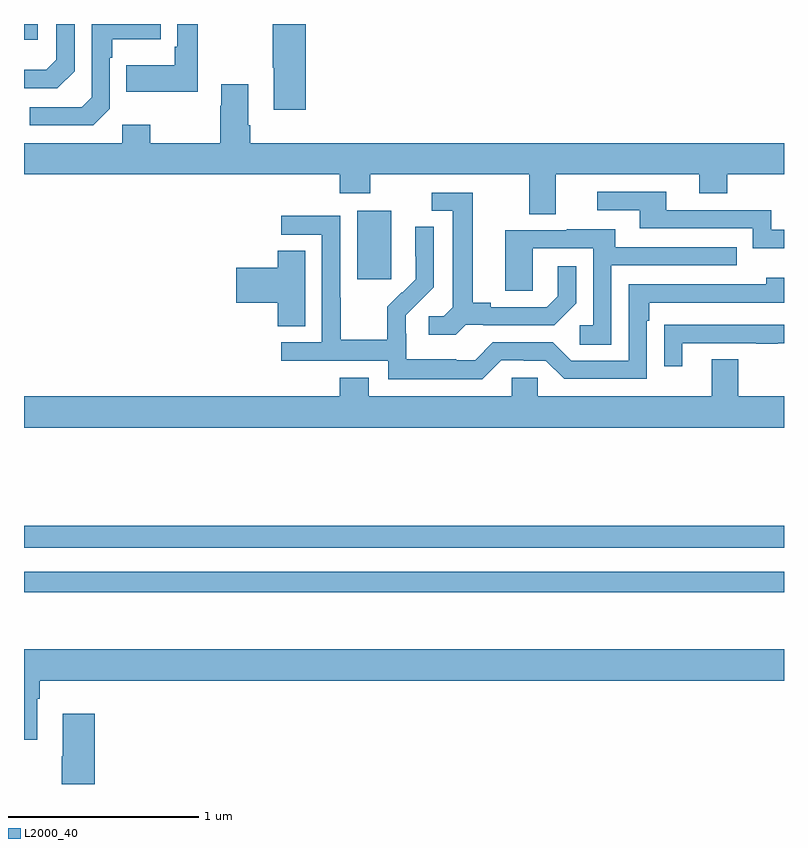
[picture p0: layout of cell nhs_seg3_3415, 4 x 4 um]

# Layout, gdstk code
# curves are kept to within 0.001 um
import gdstk
lib = gdstk.Library(unit=1e-6, precision=1e-09)
def R(c, l, rs):  # rectangles x0, y0, x1, y1
    for r in rs: c.add(gdstk.rectangle(r[:2], r[2:], *l))
def P(c, l, *ps):  # polygons
    for p in ps: c.add(gdstk.Polygon(p, *l))
L2000_40 = (2000, 40)

nhs_seg3_3415 = lib.new_cell('nhs_seg3_3415')
R(nhs_seg3_3415, L2000_40, [(289,673.41,293,673.518), (289,673.644,293,673.76), (290.753,675.057,290.932,675.418), (289,676.316,289.072,676.4)])
P(nhs_seg3_3415, L2000_40, [(289.915,676.4),(289.806,676.4),(289.806,676.279),(289.794,676.279),(289.794,676.183),(289.537,676.183),(289.537,676.043),(289.915,676.043)],
  [(290.483,676.4),(290.308,676.4),(290.308,676.171),(290.315,676.171),(290.315,675.948),(290.483,675.948)],
  [(289.452,675.954),(289.452,676.223),(289.465,676.223),(289.465,676.319),(289.721,676.319),(289.721,676.4),(289.356,676.4),(289.356,676.014),(289.305,675.963),(289.029,675.963),(289.029,675.867),(289.365,675.867)],
  [(289.266,676.152),(289.266,676.4),(289.17,676.4),(289.17,676.212),(289.117,676.159),(289,676.159),(289,676.062),(289.176,676.062)],
  [(291.799,675.608),(292.553,675.608),(292.553,675.509),(292.701,675.509),(292.701,675.608),(293,675.608),(293,675.772),(290.192,675.772),(290.192,675.868),(290.179,675.868),(290.179,676.084),(290.039,676.084),(290.039,675.971),(290.032,675.971),(290.032,675.772),(289.665,675.772),(289.665,675.871),(289.518,675.871),(289.518,675.772),(289,675.772),(289,675.608),(290.663,675.608),(290.663,675.509),(290.823,675.509),(290.823,675.608),(291.659,675.608),(291.659,675.4),(291.799,675.4)],
  [(293,675.318),(292.932,675.318),(292.932,675.42),(292.381,675.42),(292.381,675.516),(292.017,675.516),(292.017,675.42),(292.241,675.42),(292.241,675.324),(292.836,675.324),(292.836,675.221),(293,675.221)],
  [(291.324,674.817),(291.418,674.817),(291.418,674.814),(291.79,674.814),(291.906,674.93),(291.906,675.124),(291.809,675.124),(291.809,674.967),(291.752,674.91),(291.457,674.91),(291.457,674.933),(291.361,674.933),(291.361,675.513),(291.147,675.513),(291.147,675.417),(291.257,675.417),(291.257,674.909),(291.21,674.862),(291.129,674.862),(291.129,674.765),(291.272,674.765)],
  [(291.513,674.631),(291.629,674.631),(291.629,674.628),(291.747,674.628),(291.843,674.532),(292.278,674.532),(292.278,674.837),(292.291,674.837),(292.291,674.934),(293,674.934),(293,675.064),(292.907,675.064),(292.907,675.03),(292.182,675.03),(292.182,674.628),(291.879,674.628),(291.783,674.724),(291.468,674.724),(291.375,674.631),(291.275,674.631),(291.275,674.635),(291.012,674.635),(291.012,674.769),(291.01,674.769),(291.01,674.866),(291.156,675.014),(291.156,675.332),(291.06,675.332),(291.06,675.178),(291.062,675.178),(291.062,675.056),(290.991,674.985),(290.988,674.988),(290.911,674.911),(290.911,674.737),(290.667,674.737),(290.667,674.96),(290.664,674.96),(290.664,675.39),(290.355,675.39),(290.355,675.291),(290.568,675.291),(290.568,674.724),(290.355,674.724),(290.355,674.628),(290.916,674.628),(290.916,674.531),(291.413,674.531)],
  [(292.092,675.129),(292.751,675.129),(292.751,675.225),(292.111,675.225),(292.111,675.319),(291.857,675.319),(291.857,675.315),(291.533,675.315),(291.533,674.995),(291.678,674.995),(291.678,675.219),(291.996,675.219),(291.996,674.814),(291.924,674.814),(291.924,674.713),(292.092,674.713)],
  [(290.479,675.206),(290.336,675.206),(290.336,675.116),(290.118,675.116),(290.118,674.933),(290.336,674.933),(290.336,674.809),(290.479,674.809)],
  [(292.465,674.721),(292.855,674.721),(292.855,674.716),(292.967,674.716),(292.967,674.721),(293,674.721),(293,674.817),(292.471,674.817),(292.471,674.816),(292.369,674.816),(292.369,674.598),(292.465,674.598)],
  [(293,674.44),(292.759,674.44),(292.759,674.635),(292.619,674.635),(292.619,674.44),(291.705,674.44),(291.705,674.538),(291.567,674.538),(291.567,674.44),(290.815,674.44),(290.815,674.539),(290.663,674.539),(290.663,674.44),(289,674.44),(289,674.276),(293,674.276)],
  [(289.069,672.848),(289.082,672.848),(289.082,672.944),(293,672.944),(293,673.108),(289,673.108),(289,672.633),(289.069,672.633)],
  [(289.373,672.769),(289.205,672.769),(289.205,672.545),(289.198,672.545),(289.198,672.4),(289.373,672.4)])

lib.write_gds('nhs_seg3_3415.gds')
